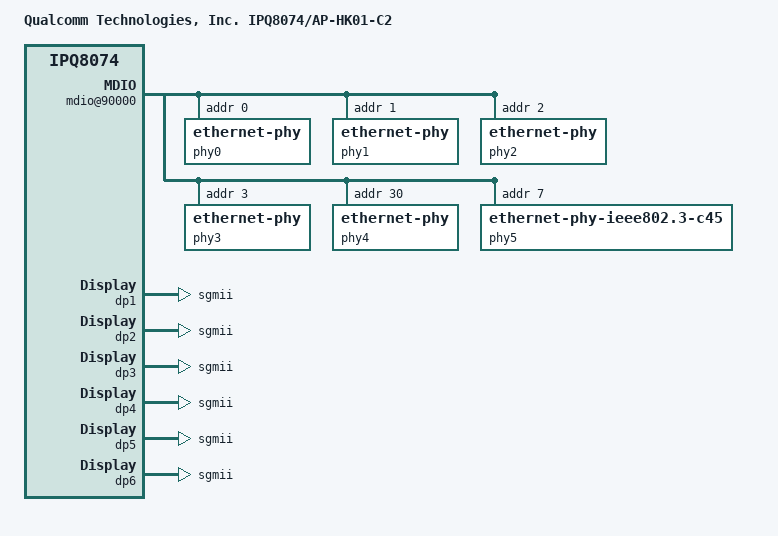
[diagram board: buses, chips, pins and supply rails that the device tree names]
// SPDX-License-Identifier: GPL-2.0-only
/dts-v1/;
/* Copyright (c) 2017, 2020, The Linux Foundation. All rights reserved.
 */
#include "ipq8074-hk01.dtsi"

/ {
	model = "Qualcomm Technologies, Inc. IPQ8074/AP-HK01-C2";
	compatible = "qcom,ipq8074-ap-hk01-c2", "qcom,ipq8074-hk01", "qcom,ipq8074";

	soc {
		mdio@90000 {
			pinctrl-0 = <&mdio_pins>;
			pinctrl-names = "default";
			phy-reset-gpio = <&tlmm 37 0>;
			phy0: ethernet-phy@0 {
				reg = <0>;
			};
			phy1: ethernet-phy@1 {
				reg = <1>;
			};
			phy2: ethernet-phy@2 {
				reg = <2>;
			};
			phy3: ethernet-phy@3 {
				reg = <3>;
			};
			phy4: ethernet-phy@4 {
				reg = <30>;
			};
			phy5: ethernet-phy@5 {
				compatible ="ethernet-phy-ieee802.3-c45";
				reg = <7>;
			};
		};

		dp1 {
			device_type = "network";
			compatible = "qcom,nss-dp";
			qcom,id = <1>;
			reg = <0x3a001000 0x200>;
			qcom,mactype = <0>;
			local-mac-address = [000000000000];
			qcom,link-poll = <1>;
			qcom,phy-mdio-addr = <0>;
			phy-mode = "sgmii";
		};

		dp2 {
			device_type = "network";
			compatible = "qcom,nss-dp";
			qcom,id = <2>;
			reg = <0x3a001200 0x200>;
			qcom,mactype = <0>;
			local-mac-address = [000000000000];
			qcom,link-poll = <1>;
			qcom,phy-mdio-addr = <1>;
			phy-mode = "sgmii";
		};

		dp3 {
			device_type = "network";
			compatible = "qcom,nss-dp";
			qcom,id = <3>;
			reg = <0x3a001400 0x200>;
			qcom,mactype = <0>;
			local-mac-address = [000000000000];
			qcom,link-poll = <1>;
			qcom,phy-mdio-addr = <2>;
			phy-mode = "sgmii";
		};

		dp4 {
			device_type = "network";
			compatible = "qcom,nss-dp";
			qcom,id = <4>;
			reg = <0x3a001600 0x200>;
			qcom,mactype = <0>;
			local-mac-address = [000000000000];
			qcom,link-poll = <1>;
			qcom,phy-mdio-addr = <3>;
			phy-mode = "sgmii";
		};

		dp5 {
			device_type = "network";
			compatible = "qcom,nss-dp";
			qcom,id = <5>;
			reg = <0x3a003000 0x3fff>;
			qcom,mactype = <1>;
			local-mac-address = [000000000000];
			qcom,link-poll = <1>;
			qcom,phy-mdio-addr = <30>;
			phy-mode = "sgmii";
		};

		dp6 {
			device_type = "network";
			compatible = "qcom,nss-dp";
			qcom,id = <6>;
			reg = <0x3a007000 0x3fff>;
			qcom,mactype = <1>;
			local-mac-address = [000000000000];
			qcom,link-poll = <1>;
			qcom,phy-mdio-addr = <7>;
			phy-mode = "sgmii";
		};

		ess-switch@3a000000 {
			pinctrl-0 = <&uniphy_pins>;
			pinctrl-names = "default";
			switch_cpu_bmp = <0x1>;  /* cpu port bitmap */
			switch_lan_bmp = <0x3e>; /* lan port bitmap */
			switch_wan_bmp = <0x40>; /* wan port bitmap */
			switch_mac_mode = <0xb>; /* mac mode for uniphy instance0*/
			switch_mac_mode1 = <0xe>; /* mac mode for uniphy instance1*/
			switch_mac_mode2 = <0xd>; /* mac mode for uniphy instance2*/
			bm_tick_mode = <0>; /* bm tick mode */
			tm_tick_mode = <0>; /* tm tick mode */
			qcom,port_phyinfo {
				port@0 {
					port_id = <1>;
					phy_address = <0>;
				};
				port@1 {
					port_id = <2>;
					phy_address = <1>;
				};
				port@2 {
					port_id = <3>;
					phy_address = <2>;
				};
				port@3 {
					port_id = <4>;
					phy_address = <3>;
				};
				port@4 {
					port_id = <5>;
					phy_address = <30>;
					phy_i2c_address = <30>;
					phy-i2c-mode; /*i2c access phy */
					media-type = "sfp"; /* fiber mode */
				};
				port@5 {
					port_id = <6>;
					phy_address = <7>;
					ethernet-phy-ieee802.3-c45;
				};
			};
		};
	};
};
